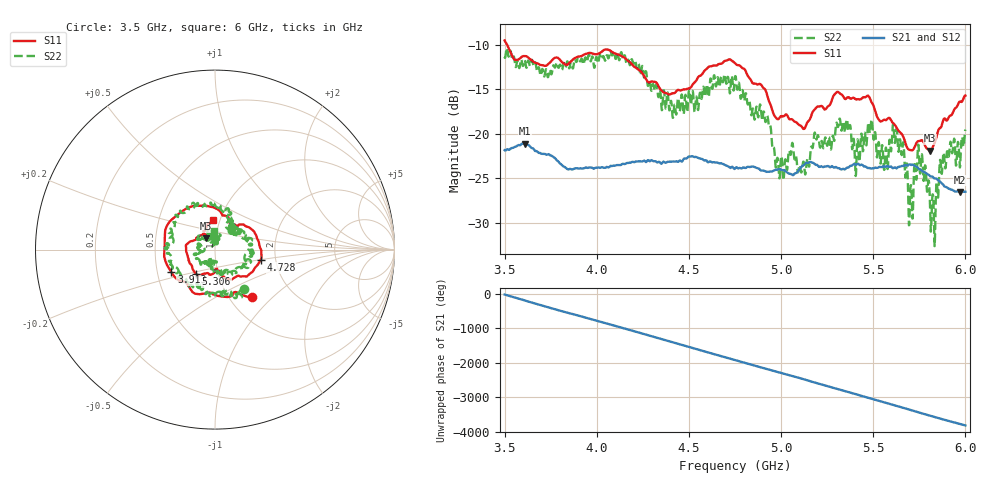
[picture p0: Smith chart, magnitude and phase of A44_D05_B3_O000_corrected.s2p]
! Created with skrf 1.9.0 (http://scikit-rf.org).
# Hz S RI R 50.0
!freq ReS11 ImS11 ReS21 ImS21 ReS12 ImS12 ReS22 ImS22
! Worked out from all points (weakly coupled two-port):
!   1601 points, 3.5 GHz to 6 GHz, reference 50 ohm
!   highest |S21| = -21.10 dB at 3.609 GHz (marker M1); lowest = -26.6 dB at 5.972 GHz (marker M2)
!   lowest |S11| = -21.9 dB at 5.808 GHz (marker M3), VSWR 1.17, Z = 44.9 + j5.71 ohm
!   |S11| at or under -10 dB: 3.514 GHz to end of sweep
!   |S22| runs from -32.7 to -10.3 dB; largest |S21 - S12| = 0.0011
!   S11 on the Smith chart (normalised r, x): 3.5 GHz: 1.27, -0.76; 3.913 GHz: 0.59, -0.16; 4.728 GHz: 1.67, -0.20; 5.306 GHz: 0.78, -0.22; 6 GHz: 0.92, +0.31
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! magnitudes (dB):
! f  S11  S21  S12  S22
! 3.5 GHz  -9.5  -21.8  -21.8  -11.3
! 3.609 GHz  -11.2  -21.1  -21.1  -11.7
! 3.913 GHz  -11.3  -23.9  -23.8  -11.7
! 3.917 GHz  -11.2  -23.9  -23.9  -11.5
! 4.141 GHz  -11.3  -23.4  -23.4  -11.5
! 4.334 GHz  -14.6  -23.2  -23.1  -15.9
! 4.422 GHz  -15.4  -23.1  -23.1  -16.7
! 4.728 GHz  -11.7  -23.8  -23.7  -14.2
! 4.75 GHz  -12.0  -23.9  -23.8  -13.7
! 4.931 GHz  -16.1  -24.3  -24.2  -18.7
! 4.983 GHz  -18.4  -24.0  -24.0  -22.9
! 5.167 GHz  -17.7  -23.3  -23.2  -21.5
! 5.306 GHz  -15.3  -23.9  -23.7  -19.2
! 5.412 GHz  -16.1  -23.4  -23.4  -21.2
! 5.483 GHz  -16.1  -23.9  -23.8  -19.9
! 5.584 GHz  -18.2  -23.7  -23.6  -21.6
! 5.655 GHz  -20.0  -23.6  -23.5  -22.4
! 5.703 GHz  -21.8  -23.5  -23.4  -25.9
! 5.753 GHz  -20.8  -24.0  -23.9  -24.3
! 5.808 GHz  -21.9  -24.8  -24.7  -27.9
! 5.972 GHz  -16.4  -26.6  -26.5  -23.5
! 6 GHz  -15.7  -26.5  -26.5  -19.5
